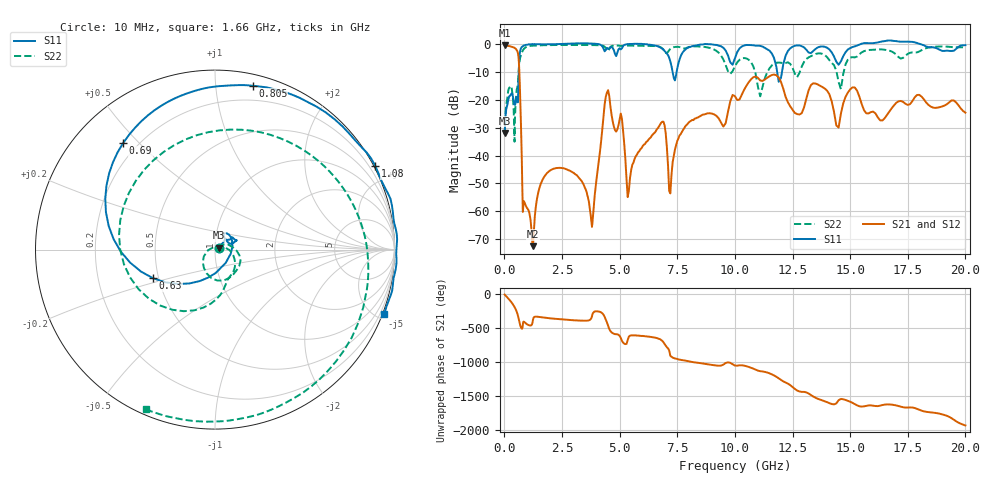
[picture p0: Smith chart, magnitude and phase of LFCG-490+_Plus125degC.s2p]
! Mini-Circuits
! S2P DATA File Format
! Type: LOW PASS FILTER
! Model: LFCG-490+
! All S Parameters are in dB deg format
! TEST CONDITIONS: INPUT POWER = 0 dBm @ Temperature = +125 deg C
# MHz S dB R 50
!Frequency  S11 dB  S11 DEG  S21 dB  S21 DEG  S12 dB  S12 DEG  S22 dB  S22 DEG
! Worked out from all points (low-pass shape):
!   460 points, 10 MHz to 20 GHz, reference 50 ohm
!   highest |S21| = -0.32 dB at 16 MHz (marker M1); lowest = -72.7 dB at 1.24 GHz (marker M2)
!   |S21| within 3 dB of the highest: start of sweep to 591.6 MHz
!   lowest |S11| = -31.8 dB at 10 MHz (marker M3), VSWR 1.05, Z = 52.3 + j1.19 ohm
!   |S11| at or under -10 dB: start of sweep to 623.6 MHz; 7.301 GHz to 7.471 GHz (169.8 MHz wide, 2.3 % of centre); 11.84 GHz to 12.04 GHz (205.2 MHz wide, 1.72 % of centre)
!   |S22| runs from -35.0 to -0.2 dB; largest |S21 - S12| = 0.00068
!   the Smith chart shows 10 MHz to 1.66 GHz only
!   S11 on the Smith chart (normalised r, x): 10 MHz: 1.05, +0.02; 630 MHz: 0.47, -0.17; 690 MHz: 0.15, +0.45; 805 MHz: 0.08, +1.25; 1.08 GHz: -0.07, +4.07; 1.66 GHz: -0.13, -5.46
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10  -31.83 26.2  -0.32 -3.7  -0.33 -3.6  -32.46 24.2
16  -31.33 19.8  -0.32 -5.8  -0.32 -5.8  -31.42 25.4
240  -18.47 34.4  -0.63 -89.5  -0.64 -89.5  -15.32 -53.5
420  -21.08 22.6  -1.11 -174.6  -1.11 -174.6  -28.13 -174.7
540  -18.87 47.5  -2.09 99.1  -2.09 99.1  -16.09 -48.2
630  -8.40 -155.2  -6.51 -17.7  -6.51 -17.7  -8.30 -116.8
690  -2.12 130.8  -20.04 -102.7  -20.05 -102.7  -4.66 138.9
805  -0.57 77.0  -60.13 -69.4  -60.14 -69.9  -2.09 28.2
1080  0.07 27.6  -60.61 -96.3  -60.65 -97.0  -0.58 -58.4
1240  0.08 10.1  -72.66 -16.8  -72.49 -18.2  -0.43 -80.7
1660  0.07 -20.8  -48.64 19.3  -48.66 19.4  -0.26 -113.3
3360  0.40 -84.0  -49.30 -28.1  -49.30 -28.2  -0.17 -159.0
3820  0.37 -95.6  -64.25 66.6  -64.11 66.6  -0.22 -166.1
4450  -1.23 -102.0  -17.28 -54.8  -17.29 -54.8  -1.72 -179.1
5400  0.18 -105.6  -52.69 97.0  -52.65 96.6  -0.39 171.1
6700  -0.76 -152.4  -29.61 65.1  -29.62 65.2  -0.76 133.6
7550  -6.80 -39.3  -33.82 121.7  -33.83 121.8  -0.86 116.7
9200  -0.16 -161.9  -25.72 31.4  -25.73 31.5  -2.30 30.2
10100  -2.75 -146.9  -20.00 28.2  -20.01 28.3  -6.45 138.4
13400  -2.36 159.6  -13.98 -65.2  -13.99 -65.1  -3.79 -176.5
16700  1.45 121.6  -24.14 178.1  -24.16 178.3  -2.22 123.8
20000  -0.25 103.3  -24.55 -131.1  -24.56 -130.9  -0.90 137.8
